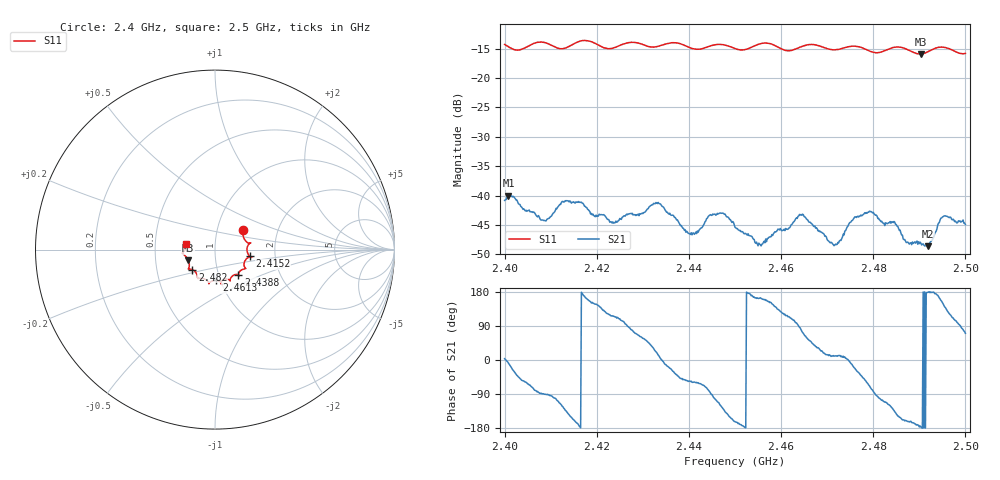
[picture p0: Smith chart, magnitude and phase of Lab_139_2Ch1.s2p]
# Hz S RI R 50
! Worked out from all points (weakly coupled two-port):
!   601 points, 2.4 GHz to 2.5 GHz, reference 50 ohm
!   highest |S21| = -40.03 dB at 2.4008 GHz (marker M1); lowest = -48.6 dB at 2.4918 GHz (marker M2)
!   lowest |S11| = -15.9 dB at 2.4903 GHz (marker M3), VSWR 1.38, Z = 36.8 - j4.45 ohm
!   |S11| at or under -10 dB: start of sweep to end of sweep
!   S12 and S22 are empty: the file has one direction only
!   S11 on the Smith chart (normalised r, x): 2.4 GHz: 1.33, +0.31; 2.4152 GHz: 1.47, -0.12; 2.4388 GHz: 1.24, -0.36; 2.4613 GHz: 0.96, -0.34; 2.482 GHz: 0.76, -0.17; 2.5 GHz: 0.72, +0.05
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2.4e9  0.158 0.1117  0.00908 0.000545  0 0  0 0
2.400833e9  0.1559 0.0998  0.00986 -0.00142  0 0  0 0
2.4085e9  0.198 0.0375  5.26e-05 -0.00613  0 0  0 0
2.415167e9  0.1935 -0.0375  -0.00814 -0.00299  0 0  0 0
2.416667e9  0.2032 -0.0436  -0.00878 0.00019  0 0  0 0
2.4235e9  0.1618 -0.0784  -0.00267 0.00534  0 0  0 0
2.433333e9  0.1324 -0.1316  0.00851 0.00199  0 0  0 0
2.438833e9  0.1297 -0.1411  0.0033 -0.00408  0 0  0 0
2.447e9  0.0844 -0.174  -0.00375 -0.00599  0 0  0 0
2.45e9  0.0687 -0.1649  -0.00513 -0.00161  0 0  0 0
2.455333e9  0.0346 -0.1923  -0.00371 0.00111  0 0  0 0
2.461333e9  0.00779 -0.1711  -0.00237 0.00458  0 0  0 0
2.464333e9  -0.0298 -0.1824  0.00123 0.00679  0 0  0 0
2.466667e9  -0.0349 -0.1902  0.00404 0.00409  0 0  0 0
2.471667e9  -0.0622 -0.1625  0.00373 0.000705  0 0  0 0
2.476167e9  -0.096 -0.1602  0.00598 -0.00276  0 0  0 0
2.482e9  -0.1257 -0.1115  -0.00161 -0.00566  0 0  0 0
2.483333e9  -0.1394 -0.1087  -0.00275 -0.0052  0 0  0 0
2.490333e9  -0.149 -0.059  -0.00392 -0.000226  0 0  0 0
2.491833e9  -0.1632 -0.0381  -0.00371 0.000104  0 0  0 0
2.495167e9  -0.1822 -0.0197  -0.00563 0.0035  0 0  0 0
2.5e9  -0.159 0.0324  0.00189 0.00535  0 0  0 0
